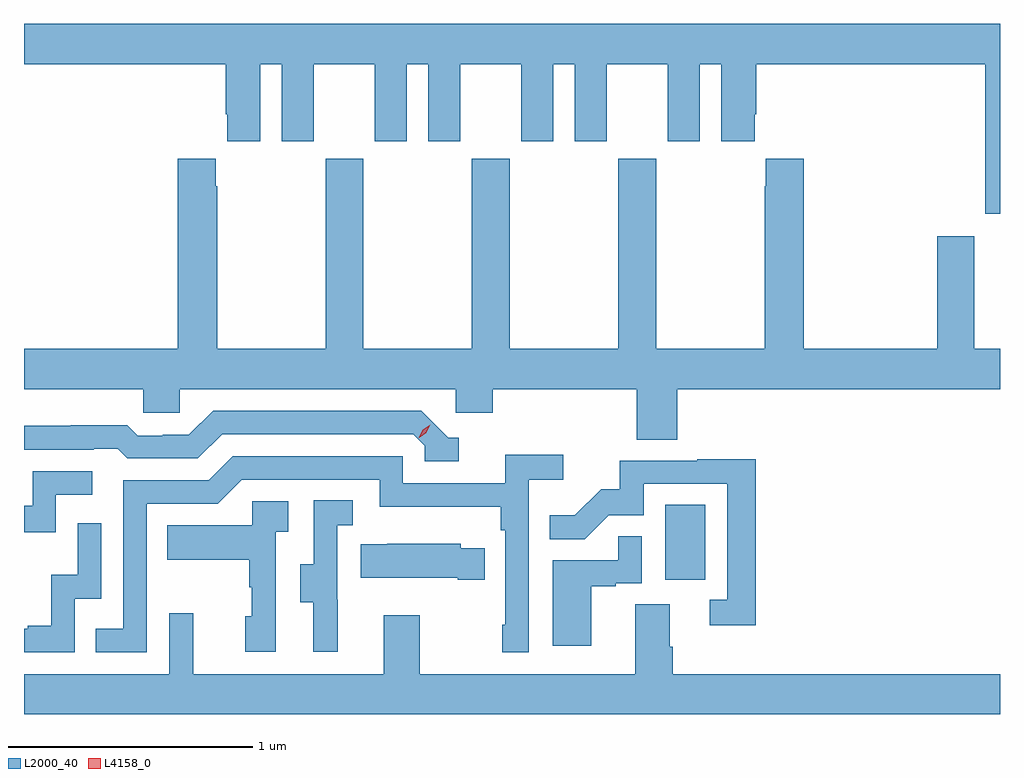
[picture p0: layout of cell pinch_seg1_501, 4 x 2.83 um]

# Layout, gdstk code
import gdstk
lib = gdstk.Library(unit=1e-6, precision=1e-09)
def R(c, l, rs):  # rectangles x0, y0, x1, y1
    for r in rs: c.add(gdstk.rectangle(r[:2], r[2:], *l))
def P(c, l, *ps):  # polygons
    for p in ps: c.add(gdstk.Polygon(p, *l))
L2000_40 = (2000, 40)
L4158_0 = (4158, 0)

pinch_seg1_501 = lib.new_cell('pinch_seg1_501')
R(pinch_seg1_501, L2000_40, [(1126.844,532.302,1127.008,532.609)])
P(pinch_seg1_501, L2000_40, [(1128.215,534.58),(1124.215,534.58),(1124.215,534.416),(1125.041,534.416),(1125.041,534.211),(1125.047,534.211),(1125.047,534.099),(1125.184,534.099),(1125.184,534.416),(1125.272,534.416),(1125.272,534.099),(1125.403,534.099),(1125.403,534.416),(1125.653,534.416),(1125.653,534.099),(1125.784,534.099),(1125.784,534.416),(1125.872,534.416),(1125.872,534.099),(1126.003,534.099),(1126.003,534.416),(1126.253,534.416),(1126.253,534.099),(1126.384,534.099),(1126.384,534.416),(1126.472,534.416),(1126.472,534.099),(1126.603,534.099),(1126.603,534.416),(1126.853,534.416),(1126.853,534.099),(1126.984,534.099),(1126.984,534.416),(1127.072,534.416),(1127.072,534.099),(1127.209,534.099),(1127.209,534.211),(1127.216,534.211),(1127.216,534.416),(1128.155,534.416),(1128.155,533.802),(1128.215,533.802)],
  [(1126.892,533.084),(1128.215,533.084),(1128.215,533.248),(1128.109,533.248),(1128.109,533.71),(1127.957,533.71),(1127.957,533.248),(1127.411,533.248),(1127.411,534.028),(1127.255,534.028),(1127.255,533.915),(1127.251,533.915),(1127.251,533.248),(1126.806,533.248),(1126.806,534.028),(1126.651,534.028),(1126.651,533.248),(1126.206,533.248),(1126.206,534.028),(1126.051,534.028),(1126.051,533.248),(1125.606,533.248),(1125.606,534.028),(1125.451,534.028),(1125.451,533.248),(1125.006,533.248),(1125.006,533.915),(1125.001,533.915),(1125.001,534.028),(1124.846,534.028),(1124.846,533.248),(1124.215,533.248),(1124.215,533.084),(1124.703,533.084),(1124.703,532.986),(1124.853,532.986),(1124.853,533.084),(1125.984,533.084),(1125.984,532.986),(1126.136,532.986),(1126.136,533.084),(1126.727,533.084),(1126.727,532.876),(1126.892,532.876)],
  [(1125.997,532.884),(1125.954,532.884),(1125.843,532.995),(1124.99,532.995),(1124.891,532.896),(1124.784,532.896),(1124.784,532.893),(1124.681,532.893),(1124.639,532.936),(1124.406,532.936),(1124.406,532.933),(1124.215,532.933),(1124.215,532.836),(1124.501,532.836),(1124.501,532.839),(1124.6,532.839),(1124.639,532.8),(1124.928,532.8),(1125.027,532.899),(1125.81,532.899),(1125.858,532.851),(1125.858,532.788),(1125.997,532.788)],
  [(1124.718,532.614),(1125.009,532.614),(1125.108,532.713),(1125.672,532.713),(1125.672,532.601),(1126.168,532.601),(1126.168,532.505),(1126.188,532.505),(1126.188,532.117),(1126.176,532.117),(1126.176,532.005),(1126.284,532.005),(1126.284,532.712),(1126.426,532.712),(1126.426,532.814),(1126.187,532.814),(1126.187,532.698),(1125.768,532.698),(1125.768,532.809),(1125.071,532.809),(1124.972,532.71),(1124.622,532.71),(1124.622,532.101),(1124.509,532.101),(1124.509,532.005),(1124.718,532.005)],
  [(1127.213,532.796),(1126.975,532.796),(1126.975,532.791),(1126.657,532.791),(1126.657,532.674),(1126.58,532.674),(1126.473,532.567),(1126.369,532.567),(1126.369,532.468),(1126.513,532.468),(1126.611,532.566),(1126.755,532.566),(1126.755,532.695),(1127.097,532.695),(1127.097,532.221),(1127.025,532.221),(1127.025,532.116),(1127.213,532.116)],
  [(1124.346,532.65),(1124.494,532.65),(1124.494,532.746),(1124.25,532.746),(1124.25,532.605),(1124.215,532.605),(1124.215,532.497),(1124.346,532.497)],
  [(1125.5,532.221),(1125.498,532.221),(1125.498,532.525),(1125.562,532.525),(1125.562,532.628),(1125.402,532.628),(1125.402,532.365),(1125.347,532.365),(1125.347,532.21),(1125.401,532.21),(1125.401,532.008),(1125.5,532.008)],
  [(1125.246,532.499),(1125.298,532.499),(1125.298,532.623),(1125.15,532.623),(1125.15,532.525),(1124.803,532.525),(1124.803,532.385),(1125.138,532.385),(1125.138,532.271),(1125.148,532.271),(1125.148,532.152),(1125.122,532.152),(1125.122,532.008),(1125.246,532.008)],
  [(1124.424,532.224),(1124.532,532.224),(1124.532,532.534),(1124.436,532.534),(1124.436,532.322),(1124.327,532.322),(1124.327,532.114),(1124.231,532.114),(1124.231,532.101),(1124.215,532.101),(1124.215,532.005),(1124.424,532.005)],
  [(1126.54,532.275),(1126.64,532.275),(1126.64,532.287),(1126.746,532.287),(1126.746,532.481),(1126.651,532.481),(1126.651,532.383),(1126.382,532.383),(1126.382,532.032),(1126.54,532.032)],
  [(1126.103,532.432),(1126.005,532.432),(1126.005,532.45),(1125.703,532.45),(1125.703,532.447),(1125.595,532.447),(1125.595,532.31),(1125.992,532.31),(1125.992,532.303),(1126.103,532.303)],
  [(1128.215,531.916),(1126.874,531.916),(1126.874,532.028),(1126.861,532.028),(1126.861,532.202),(1126.721,532.202),(1126.721,531.916),(1125.837,531.916),(1125.837,532.156),(1125.689,532.156),(1125.689,531.916),(1124.909,531.916),(1124.909,532.165),(1124.811,532.165),(1124.811,531.916),(1124.215,531.916),(1124.215,531.752),(1128.215,531.752)])
P(pinch_seg1_501, L4158_0, [(1125.833,532.885),(1125.833,532.885),(1125.849,532.918),(1125.879,532.938),(1125.88,532.938),(1125.88,532.938),(1125.864,532.905),(1125.834,532.885)])

lib.write_gds('pinch_seg1_501.gds')
